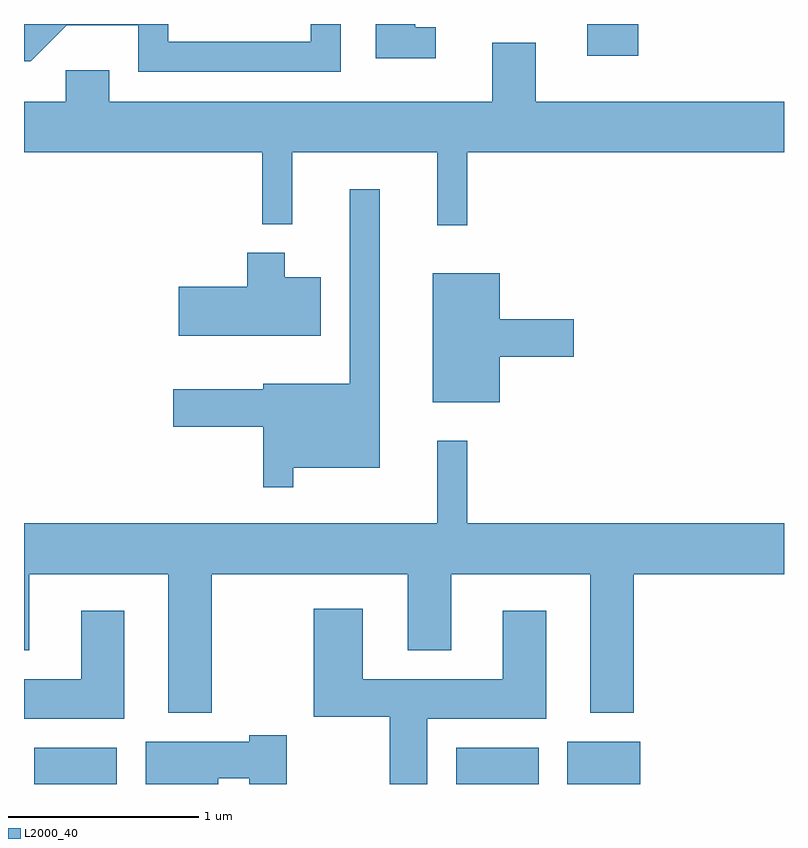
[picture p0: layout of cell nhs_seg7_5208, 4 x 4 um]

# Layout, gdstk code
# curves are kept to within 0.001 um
import gdstk
lib = gdstk.Library(unit=1e-6, precision=1e-09)
def R(c, l, rs):  # rectangles x0, y0, x1, y1
    for r in rs: c.add(gdstk.rectangle(r[:2], r[2:], *l))
def P(c, l, *ps):  # polygons
    for p in ps: c.add(gdstk.Polygon(p, *l))
L2000_40 = (2000, 40)

nhs_seg7_5208 = lib.new_cell('nhs_seg7_5208')
R(nhs_seg7_5208, L2000_40, [(343.666,1784.252,344.099,1784.444), (345.886,1784.252,346.319,1784.444), (346.471,1784.252,346.854,1784.474), (346.576,1788.086,346.844,1788.252)])
P(nhs_seg7_5208, L2000_40, [(345.279,1788.252),(345.121,1788.252),(345.121,1788.159),(344.369,1788.159),(344.369,1788.252),(343.612,1788.252),(343.611,1788.056),(343.647,1788.056),(343.837,1788.246),(344.211,1788.246),(344.211,1788.001),(345.279,1788.001)],
  [(345.778,1788.234),(345.669,1788.234),(345.669,1788.252),(345.461,1788.252),(345.461,1788.071),(345.778,1788.071)],
  [(345.944,1787.576),(347.611,1787.576),(347.611,1787.844),(346.304,1787.844),(346.304,1788.154),(346.076,1788.154),(346.076,1787.844),(344.059,1787.844),(344.059,1788.009),(343.831,1788.009),(343.831,1787.844),(343.611,1787.844),(343.611,1787.576),(344.866,1787.576),(344.866,1787.198),(345.024,1787.198),(345.024,1787.576),(345.786,1787.576),(345.786,1787.193),(345.944,1787.193)],
  [(345.029,1785.916),(345.484,1785.916),(345.484,1787.383),(345.326,1787.383),(345.326,1786.359),(344.871,1786.359),(344.871,1786.329),(344.396,1786.329),(344.396,1786.131),(344.871,1786.131),(344.871,1785.813),(345.029,1785.813)],
  [(345.174,1786.919),(344.984,1786.919),(344.984,1787.049),(344.786,1787.049),(344.786,1786.869),(344.426,1786.869),(344.426,1786.611),(345.174,1786.611)],
  [(346.114,1786.501),(346.504,1786.501),(346.504,1786.699),(346.114,1786.699),(346.114,1786.939),(345.761,1786.939),(345.761,1786.261),(346.114,1786.261)],
  [(344.599,1785.356),(345.631,1785.356),(345.631,1784.956),(345.859,1784.956),(345.859,1785.356),(346.591,1785.356),(346.591,1784.626),(346.819,1784.626),(346.819,1785.356),(347.611,1785.356),(347.611,1785.624),(345.944,1785.624),(345.944,1786.058),(345.786,1786.058),(345.786,1785.624),(343.611,1785.624),(343.611,1784.956),(343.639,1784.956),(343.639,1785.356),(344.371,1785.356),(344.371,1784.626),(344.599,1784.626)],
  [(345.734,1784.596),(346.359,1784.596),(346.359,1785.164),(346.131,1785.164),(346.131,1784.804),(345.394,1784.804),(345.394,1785.174),(345.136,1785.174),(345.136,1784.606),(345.536,1784.606),(345.536,1784.252),(345.734,1784.252)],
  [(344.139,1785.164),(343.911,1785.164),(343.911,1784.804),(343.611,1784.804),(343.611,1784.596),(344.139,1784.596)],
  [(344.634,1784.281),(344.796,1784.281),(344.796,1784.252),(344.994,1784.252),(344.994,1784.509),(344.796,1784.509),(344.796,1784.474),(344.251,1784.474),(344.251,1784.252),(344.634,1784.252)])

lib.write_gds('nhs_seg7_5208.gds')
